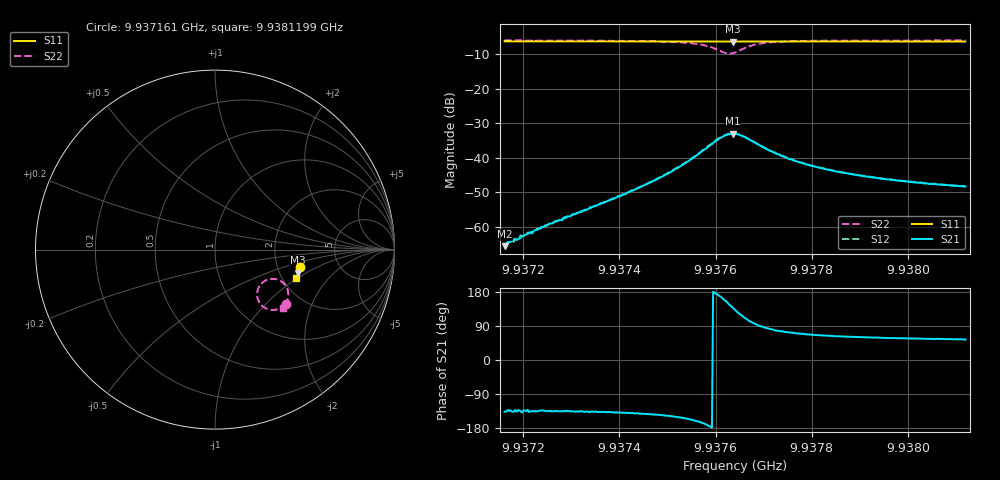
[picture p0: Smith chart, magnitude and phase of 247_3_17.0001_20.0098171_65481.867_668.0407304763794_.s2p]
#  HZ  S  RI  R  50.00
! Rohde & Schwarz Vector Network Analyzer
! Rohde-Schwarz,ZNB20-2Port,1311601062101988,3.16
! Created: UTC 3/20/2024, 11:03:08 PM
! freq[Hz]  re:S11  im:S11  re:S21  im:S21  re:S12  im:S12  re:S22  im:S22
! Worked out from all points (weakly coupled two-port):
!   401 points, 9.937161 GHz to 9.9381199 GHz, reference 50 ohm
!   highest |S21| = -33.00 dB at 9.9376357 GHz (marker M1); lowest = -65.6 dB at 9.937161 GHz (marker M2)
!   lowest |S11| = -6.4 dB at 9.9376357 GHz (marker M3), VSWR 2.84, Z = 126 - j41.8 ohm
!   |S11| at or under -10 dB: nowhere
!   |S22| runs from -9.9 to -6.1 dB; largest |S21 - S12| = 0.001
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9.937161e9  0.474 -0.0978  -0.000383 -0.000362  -0.000398 -0.000392  0.3958 -0.301
9.93717298e9  0.4739 -0.0987  -0.000422 -0.000454  -0.000437 -0.000426  0.395 -0.3021
9.93718976e9  0.4735 -0.0998  -0.000454 -0.000507  -0.000512 -0.000484  0.3936 -0.3032
9.93720175e9  0.4733 -0.1005  -0.000516 -0.000557  -0.000535 -0.000514  0.3929 -0.3043
9.9372401e9  0.4726 -0.1031  -0.000677 -0.000724  -0.000704 -0.000697  0.3894 -0.3072
9.93732161e9  0.471 -0.1088  -0.00118 -0.00117  -0.00122 -0.00115  0.3813 -0.3145
9.93740791e9  0.4692 -0.1145  -0.00221 -0.00193  -0.0023 -0.0019  0.3681 -0.3234
9.93748223e9  0.4674 -0.1195  -0.00418 -0.00295  -0.00426 -0.00289  0.348 -0.3323
9.93753497e9  0.4659 -0.1232  -0.00734 -0.00364  -0.00753 -0.00356  0.3192 -0.3363
9.93757812e9  0.4643 -0.126  -0.0131 -0.00254  -0.0135 -0.00228  0.2724 -0.3211
9.93761168e9  0.4626 -0.1274  -0.0191 0.00465  -0.0193 0.00558  0.2348 -0.2535
9.93762366e9  0.4624 -0.1276  -0.0191 0.00993  -0.0191 0.0109  0.2425 -0.2135
9.93763565e9  0.4621 -0.1278  -0.0167 0.0149  -0.0162 0.0155  0.2705 -0.1793
9.93764044e9  0.4622 -0.1278  -0.0149 0.0165  -0.0145 0.0171  0.2855 -0.1705
9.93765243e9  0.4625 -0.1283  -0.0102 0.0184  -0.00964 0.019  0.325 -0.1627
9.93766921e9  0.4628 -0.1295  -0.0045 0.018  -0.00396 0.0183  0.3681 -0.176
9.93769558e9  0.4629 -0.1313  0.000464 0.0146  0.00075 0.0147  0.3996 -0.2108
9.93775072e9  0.462 -0.1355  0.00282 0.00939  0.00317 0.00947  0.4082 -0.2581
9.93780106e9  0.4608 -0.1391  0.00302 0.007  0.00315 0.00701  0.404 -0.2797
9.93786339e9  0.4593 -0.1432  0.00286 0.00539  0.00298 0.00542  0.3975 -0.2948
9.93796168e9  0.4569 -0.1498  0.00259 0.00412  0.00265 0.00409  0.3884 -0.3091
9.9381199e9  0.4529 -0.16  0.00226 0.00309  0.00233 0.00312  0.3767 -0.324
